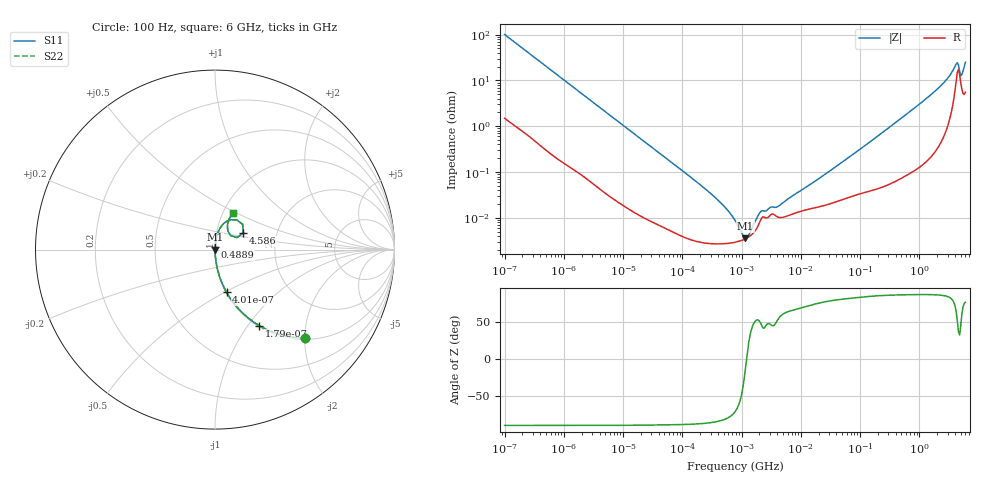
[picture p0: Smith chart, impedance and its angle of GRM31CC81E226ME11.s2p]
!Murata Part Number: GRM31CC81E226ME11
!These Parameters are Measured in Series Mode Connection
!Data Generated on Mar 30, 2021
!  o--ll--o
!Port1  Port2
!  o------o
!Operation Temp=25[degC], DC Bias Voltage=0[V]
!Freq. Start=100[Hz] Stop=6[GHz] 401[Steps]
# Hz S RI R 50
!Freq.(Hz) S11(Real) S11(Imag) S21(Real) S21(Imag) S12(Real) S12(Imag) S22(Real) S22(Imag)
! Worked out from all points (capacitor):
!   401 points, 100 Hz to 6 GHz, reference 50 ohm
!   read as one part in series: C = 15.7 uF near 109 Hz
!   lowest |Z| = 3.59 mohm at 1.159 MHz (marker M1)
!   series resonance near 1.211 MHz, so ESL is about 1.1 nH
!   S11 on the Smith chart (normalised r, x): 100 Hz: 1.03, -2.02; 179 Hz: 1.02, -1.13; 401 Hz: 1.01, -0.51; 488.9 MHz: 1.00, +0.03; 4.586 GHz: 1.35, +0.26; 6 GHz: 1.11, +0.48
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100  0.5038 -0.4926  0.4962 0.4926  0.4962 0.4926  0.5038 -0.4926
179  0.246 -0.4231  0.754 0.4231  0.754 0.4231  0.246 -0.4231
401  0.0641 -0.2377  0.9359 0.2377  0.9359 0.2377  0.0641 -0.2377
820  0.0172 -0.1229  0.9828 0.1229  0.9828 0.1229  0.0172 -0.1229
2008  0.0035 -0.0514  0.9965 0.0514  0.9965 0.0514  0.0035 -0.0514
40335  7.6e-05 -0.00265  0.9999 0.00265  0.9999 0.00265  7.6e-05 -0.00265
276587  2.78e-05 -0.000373  1 0.000373  1 0.000373  2.78e-05 -0.000373
774597  2.94e-05 -8.38e-05  1 8.38e-05  1 8.38e-05  2.94e-05 -8.38e-05
1159002  3.5e-05 -8e-06  1 8e-06  1 8e-06  3.5e-05 -8e-06
1658239  5.04e-05 6.13e-05  0.9999 -6.13e-05  0.9999 -6.13e-05  5.04e-05 6.13e-05
2169299  9.83e-05 0.000103  0.9999 -0.000103  0.9999 -0.000103  9.83e-05 0.000103
4060267  0.000105 0.000141  0.9999 -0.000141  0.9999 -0.000141  0.000105 0.000141
1.555665e7  0.000161 0.000551  0.9998 -0.000551  0.9998 -0.000551  0.000161 0.000551
3.124326e8  0.000631 0.00948  0.9994 -0.00948  0.9994 -0.00948  0.000631 0.00948
4.888888e8  0.000939 0.0147  0.9991 -0.0147  0.9991 -0.0147  0.000939 0.0147
2.048624e9  0.00766 0.0654  0.9923 -0.0654  0.9923 -0.0654  0.00766 0.0654
3.205649e9  0.0275 0.1185  0.9725 -0.1185  0.9725 -0.1185  0.0275 0.1185
4.009986e9  0.0885 0.1667  0.9115 -0.1667  0.9115 -0.1667  0.0885 0.1667
4.193612e9  0.1204 0.1657  0.8796 -0.1657  0.8796 -0.1657  0.1204 0.1657
4.586474e9  0.158 0.0937  0.842 -0.0937  0.842 -0.0937  0.158 0.0937
5.245841e9  0.0712 0.1042  0.9288 -0.1042  0.9288 -0.1042  0.0712 0.1042
6e9  0.0995 0.2065  0.9005 -0.2065  0.9005 -0.2065  0.0995 0.2065
